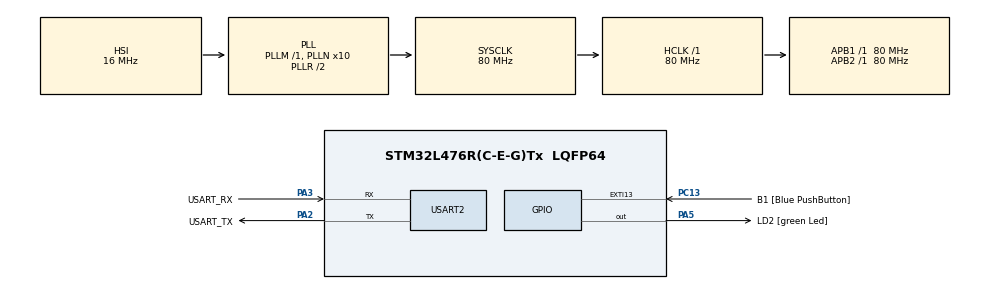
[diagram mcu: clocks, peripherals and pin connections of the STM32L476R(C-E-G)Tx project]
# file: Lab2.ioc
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Mcu.Family=STM32L4
Mcu.Name=STM32L476R(C-E-G)Tx
Mcu.Package=LQFP64
NVIC.PriorityGroup=NVIC_PRIORITYGROUP_4
PA13\ (JTMS-SWDIO).GPIO_Label=TMS
PA13\ (JTMS-SWDIO).Mode=Serial_Wire
PA13\ (JTMS-SWDIO).Signal=SYS_JTMS-SWDIO
PA14\ (JTCK-SWCLK).GPIO_Label=TCK
PA14\ (JTCK-SWCLK).Mode=Serial_Wire
PA14\ (JTCK-SWCLK).Signal=SYS_JTCK-SWCLK
PA2.GPIO_Label=USART_TX
PA2.GPIO_Mode=GPIO_MODE_AF_PP
PA2.GPIO_PuPd=GPIO_NOPULL
PA2.GPIO_Speed=GPIO_SPEED_FREQ_VERY_HIGH
PA2.Mode=Asynchronous
PA2.Signal=USART2_TX
PA3.GPIO_Label=USART_RX
PA3.GPIO_Mode=GPIO_MODE_AF_PP
PA3.GPIO_PuPd=GPIO_NOPULL
PA3.GPIO_Speed=GPIO_SPEED_FREQ_VERY_HIGH
PA3.Mode=Asynchronous
PA3.Signal=USART2_RX
PA5.GPIO_Label=LD2 [green Led]
PA5.GPIO_ModeDefaultOutputPP=GPIO_MODE_OUTPUT_PP
PA5.GPIO_PuPd=GPIO_NOPULL
PA5.GPIO_Speed=GPIO_SPEED_FREQ_LOW
PA5.Signal=GPIO_Output
PB3\ (JTDO-TRACESWO).GPIO_Label=SWO
PB3\ (JTDO-TRACESWO).Signal=SYS_JTDO-SWO
PC13.GPIO_Label=B1 [Blue PushButton]
PC13.GPIO_ModeDefaultEXTI=GPIO_MODE_IT_FALLING
PC13.GPIO_PuPd=GPIO_NOPULL
PC13.Signal=GPXTI13
PC14-OSC32_IN\ (PC14).Mode=LSE-External-Oscillator
PC14-OSC32_IN\ (PC14).Signal=RCC_OSC32_IN
PC15-OSC32_OUT\ (PC15).Mode=LSE-External-Oscillator
PC15-OSC32_OUT\ (PC15).Signal=RCC_OSC32_OUT
PH0-OSC_IN\ (PH0).Mode=HSE-External-Oscillator
PH0-OSC_IN\ (PH0).Signal=RCC_OSC_IN
PH1-OSC_OUT\ (PH1).Mode=HSE-External-Oscillator
PH1-OSC_OUT\ (PH1).Signal=RCC_OSC_OUT
ProjectManager.HeapSize=0x200
ProjectManager.StackSize=0x400
ProjectManager.TargetToolchain=STM32CubeIDE
RCC.ADCFreq_Value=64000000
RCC.AHBFreq_Value=80000000
RCC.APB1Freq_Value=80000000
RCC.APB1TimFreq_Value=80000000
RCC.APB2Freq_Value=80000000
RCC.APB2TimFreq_Value=80000000
RCC.CortexFreq_Value=80000000
RCC.HCLKFreq_Value=80000000
RCC.HSE_VALUE=8000000
RCC.HSI_VALUE=16000000
RCC.MSI_VALUE=4000000
RCC.PLLN=10
RCC.PLLSourceVirtual=RCC_PLLSOURCE_HSI
RCC.PREFETCH_ENABLE=1
RCC.SYSCLKFreq_VALUE=80000000
RCC.SYSCLKSource=RCC_SYSCLKSOURCE_PLLCLK
RCC.USBFreq_Value=64000000
RCC.VCOOutputFreq_Value=160000000
USART2.VirtualMode-Asynchronous=VM_ASYNC
board=NUCLEO-L476RG

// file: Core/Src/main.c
/* USER CODE BEGIN Header */
/**
  ******************************************************************************
  * @file           : main.c
  * @brief          : Main program body
  ******************************************************************************
  * @attention
  *
  * Copyright (c) 2025 STMicroelectronics.
  * All rights reserved.
  *
  * This software is licensed under terms that can be found in the LICENSE file
  * in the root directory of this software component.
  * If no LICENSE file comes with this software, it is provided AS-IS.
  *
  ******************************************************************************
  */
/* USER CODE END Header */
#include "main.h"

/* USER CODE BEGIN Includes */
#include "math.h"
#include "arm_math.h"
/* USER CODE END Includes */

/* USER CODE BEGIN PD */
#define BUFFER_HALFSIZE 500
#define BUFFER_SIZE 1000

/* USER CODE END PD */

UART_HandleTypeDef huart2;

/* USER CODE BEGIN PV */
uint32_t adc_buffer[BUFFER_SIZE];
uint32_t dac_buffer[BUFFER_SIZE];
/* USER CODE END PV */

void SystemClock_Config(void);
static void MX_GPIO_Init(void);
static void MX_USART2_UART_Init(void);

int main(void)
{

  /* USER CODE BEGIN 1 */

	// unit impulse signal
	for(n=0;n<N;n++){
		if (n == 0) delta[n] = 1;
		else delta[n] = 0;
	}

	//unit step signal
	for(n=0;n<N;n++) step[n]=1;
	for(n=0;n<N;n++) {
		if (n < 3) x1[n] = 0;
		else x1[n] = step[n - 3];
	}

	//rectangular signal between n=0 and 5
	for(n=0;n<N;n++){
	  if ((n>=0) & (n<6)) rect[n]=1;
	  else rect[n]=0;
	}
	for(n=0;n<N;n++) {
		if (n < 3) x1[n] = 0;
		else x1[n] = expon[n - 3];
	}

	//exponential signal
	for(n=0;n<N;n++) expon[n]=pow(a,(float)n);
	for(n=0;n<N;n++) {
		if (n < 3) x1[n] = 0;
		else x1[n] = expon[n - 3];
	}

	//sinusoidal signal
	for(n=0;n<N;n++) sinus[n]=sin(w0*(float)n) + sin(w1*(float)n);

  /* USER CODE END 1 */

  /* MCU Configuration--------------------------------------------------------*/

  /* Reset of all peripherals, Initializes the Flash interface and the Systick. */
  HAL_Init();

  /* Configure the system clock */
  SystemClock_Config();

  /* Initialize all configured peripherals */
  MX_GPIO_Init();
  MX_USART2_UART_Init();
  /* USER CODE BEGIN 2 */
  HAL_TIM_Base_Start(&htim6);
  HAL_ADC_Start_DMA(&hadc1, adc_buffer, BUFFER_SIZE);
  HAL_DAC_Start_DMA(&hdac1, DAC_CHANNEL_1, dac_buffer, BUFFER_SIZE, DAC_ALIGN_12B_R);
  /* USER CODE END 2 */

  /* Infinite loop */
  while (1)
  {

  }
}

void SystemClock_Config(void)
{
  RCC_OscInitTypeDef RCC_OscInitStruct = {0};
  RCC_ClkInitTypeDef RCC_ClkInitStruct = {0};

  /** Configure the main internal regulator output voltage
  */
  if (HAL_PWREx_ControlVoltageScaling(PWR_REGULATOR_VOLTAGE_SCALE1) != HAL_OK)
  {
    Error_Handler();
  }

  /** Initializes the RCC Oscillators according to the specified parameters
  * in the RCC_OscInitTypeDef structure.
  */
  RCC_OscInitStruct.OscillatorType = RCC_OSCILLATORTYPE_HSI;
  RCC_OscInitStruct.HSIState = RCC_HSI_ON;
  RCC_OscInitStruct.HSICalibrationValue = RCC_HSICALIBRATION_DEFAULT;
  RCC_OscInitStruct.PLL.PLLState = RCC_PLL_ON;
  RCC_OscInitStruct.PLL.PLLSource = RCC_PLLSOURCE_HSI;
  RCC_OscInitStruct.PLL.PLLM = 1;
  RCC_OscInitStruct.PLL.PLLN = 10;
  RCC_OscInitStruct.PLL.PLLP = RCC_PLLP_DIV7;
  RCC_OscInitStruct.PLL.PLLQ = RCC_PLLQ_DIV2;
  RCC_OscInitStruct.PLL.PLLR = RCC_PLLR_DIV2;
  if (HAL_RCC_OscConfig(&RCC_OscInitStruct) != HAL_OK)
  {
    Error_Handler();
  }

  /** Initializes the CPU, AHB and APB buses clocks
  */
  RCC_ClkInitStruct.ClockType = RCC_CLOCKTYPE_HCLK|RCC_CLOCKTYPE_SYSCLK
                              |RCC_CLOCKTYPE_PCLK1|RCC_CLOCKTYPE_PCLK2;
  RCC_ClkInitStruct.SYSCLKSource = RCC_SYSCLKSOURCE_PLLCLK;
  RCC_ClkInitStruct.AHBCLKDivider = RCC_SYSCLK_DIV1;
  RCC_ClkInitStruct.APB1CLKDivider = RCC_HCLK_DIV1;
  RCC_ClkInitStruct.APB2CLKDivider = RCC_HCLK_DIV1;

  if (HAL_RCC_ClockConfig(&RCC_ClkInitStruct, FLASH_LATENCY_4) != HAL_OK)
  {
    Error_Handler();
  }
}

static void MX_USART2_UART_Init(void)
{

  huart2.Instance = USART2;
  huart2.Init.BaudRate = 115200;
  huart2.Init.WordLength = UART_WORDLENGTH_8B;
  huart2.Init.StopBits = UART_STOPBITS_1;
  huart2.Init.Parity = UART_PARITY_NONE;
  huart2.Init.Mode = UART_MODE_TX_RX;
  huart2.Init.HwFlowCtl = UART_HWCONTROL_NONE;
  huart2.Init.OverSampling = UART_OVERSAMPLING_16;
  huart2.Init.OneBitSampling = UART_ONE_BIT_SAMPLE_DISABLE;
  huart2.AdvancedInit.AdvFeatureInit = UART_ADVFEATURE_NO_INIT;
  if (HAL_UART_Init(&huart2) != HAL_OK)
  {
    Error_Handler();
  }

}

static void MX_GPIO_Init(void)
{
  GPIO_InitTypeDef GPIO_InitStruct = {0};

  /* GPIO Ports Clock Enable */
  __HAL_RCC_GPIOC_CLK_ENABLE();
  __HAL_RCC_GPIOH_CLK_ENABLE();
  __HAL_RCC_GPIOA_CLK_ENABLE();
  __HAL_RCC_GPIOB_CLK_ENABLE();

  /*Configure GPIO pin Output Level */
  HAL_GPIO_WritePin(LD2_GPIO_Port, LD2_Pin, GPIO_PIN_RESET);

  /*Configure GPIO pin : B1_Pin */
  GPIO_InitStruct.Pin = B1_Pin;
  GPIO_InitStruct.Mode = GPIO_MODE_IT_FALLING;
  GPIO_InitStruct.Pull = GPIO_NOPULL;
  HAL_GPIO_Init(B1_GPIO_Port, &GPIO_InitStruct);

  /*Configure GPIO pin : LD2_Pin */
  GPIO_InitStruct.Pin = LD2_Pin;
  GPIO_InitStruct.Mode = GPIO_MODE_OUTPUT_PP;
  GPIO_InitStruct.Pull = GPIO_NOPULL;
  GPIO_InitStruct.Speed = GPIO_SPEED_FREQ_LOW;
  HAL_GPIO_Init(LD2_GPIO_Port, &GPIO_InitStruct);

}

/* USER CODE BEGIN 4 */
void HAL_ADC_ConvHalfCpltCallback(ADC_HandleTypeDef *hadc) {
	for (int n = 0; n < BUFFER_HALFSIZE; n++) {
	 dac_buffer[n] = adc_buffer[n];
	}
}
void HAL_ADC_ConvCpltCallback(ADC_HandleTypeDef *hadc) {
	for (int n = BUFFER_HALFSIZE; n < BUFFER_SIZE; n++) {
		dac_buffer[n] = adc_buffer[n];
	}
}
/* USER CODE END 4 */

void Error_Handler(void)
{
  __disable_irq();
  while (1)
  {
  }
}
